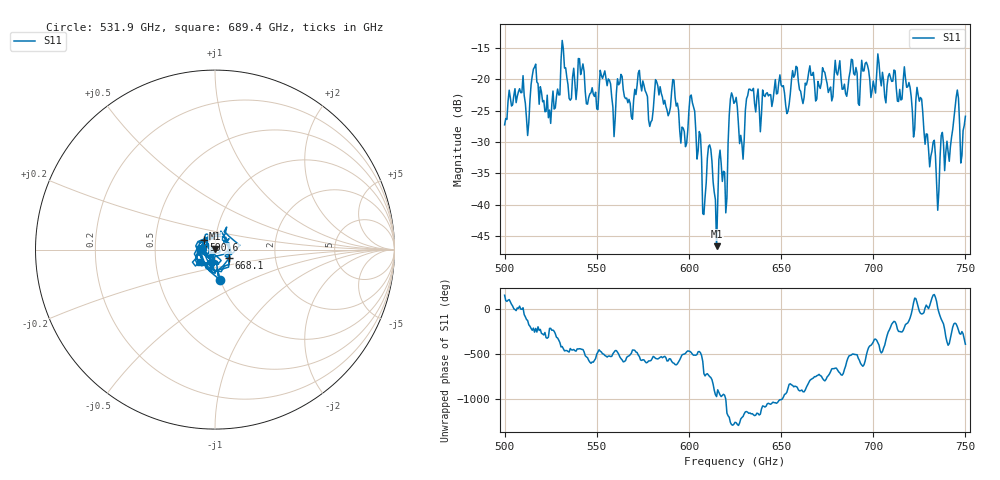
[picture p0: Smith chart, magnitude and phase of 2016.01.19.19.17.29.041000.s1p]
!Created with skrf (http://scikit-rf.org).
# GHz S RI R 50.0
!freq ReS11 ImS11
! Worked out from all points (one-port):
!   401 points, 500 GHz to 750 GHz, reference 50 ohm
!   lowest |S11| = -46.6 dB at 615 GHz (marker M1), VSWR 1.01, Z = 49.9 + j0.448 ohm
!   |S11| at or under -10 dB: start of sweep to end of sweep
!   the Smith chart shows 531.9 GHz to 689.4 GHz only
!   S11 on the Smith chart (normalised r, x): 531.9 GHz: 1.00, -0.35; 590.6 GHz: 0.88, +0.09; 668.1 GHz: 1.16, -0.11; 689.4 GHz: 0.83, -0.12
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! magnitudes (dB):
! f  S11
! 500 GHz  -27.3
! 512.5 GHz  -29.0
! 516.2 GHz  -18.1
! 526.2 GHz  -21.9
! 531.2 GHz  -13.8
! 531.9 GHz  -15.2
! 559.4 GHz  -29.2
! 562.5 GHz  -20.6
! 579.4 GHz  -26.8
! 590.6 GHz  -22.0
! 593.8 GHz  -23.8
! 598.1 GHz  -30.8
! 601.9 GHz  -23.7
! 608.1 GHz  -41.6
! 611.2 GHz  -30.5
! 615 GHz  -46.6
! 619.4 GHz  -34.8
! 625 GHz  -23.6
! 628.8 GHz  -30.3
! 633.1 GHz  -21.6
! 656.2 GHz  -18.6
! 668.1 GHz  -20.8
! 687.5 GHz  -18.7
! 689.4 GHz  -19.1
! 718.8 GHz  -21.2
! 735 GHz  -40.9
! 745 GHz  -22.9
! 750 GHz  -25.9
